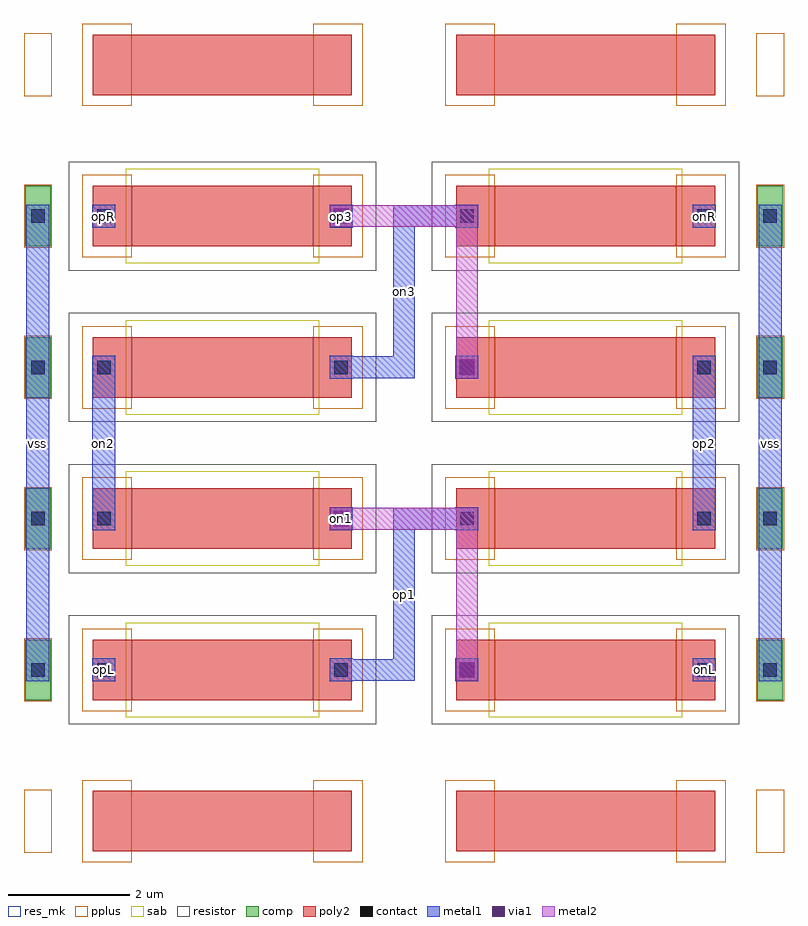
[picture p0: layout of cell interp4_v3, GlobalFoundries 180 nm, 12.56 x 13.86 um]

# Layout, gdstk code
import gdstk
lib = gdstk.Library(unit=1e-6, precision=1e-09)
def R(c, l, rs):  # rectangles x0, y0, x1, y1
    for r in rs: c.add(gdstk.rectangle(r[:2], r[2:], *l))
def A(c, l, x, y, w, h, nx, ny, dx, dy):  # array of equal rectangles
    R(c, l, [(x+i*dx, y+j*dy, x+i*dx+w, y+j*dy+h) for i in range(nx) for j in range(ny)])
comp = (22, 0)
poly2 = (30, 0)
pplus = (31, 0)
contact = (33, 0)
metal1 = (34, 0)
via1 = (35, 0)
metal2 = (36, 0)
sab = (49, 0)
resistor = (62, 0)
res_mk = (110, 5)

interp4_v3 = lib.new_cell('interp4_v3')
A(interp4_v3, comp, -1.76, 0, 0.42, 1, 1, 4, 0, 2.5)
A(interp4_v3, comp, 10.34, 0, 0.42, 1, 1, 4, 0, 2.5)
A(interp4_v3, poly2, -0.64, -2.5, 4.28, 1, 1, 6, 0, 2.5)
A(interp4_v3, poly2, 5.36, -2.5, 4.28, 1, 1, 6, 0, 2.5)
A(interp4_v3, pplus, -0.82, -2.68, 0.82, 1.36, 1, 6, 0, 2.5)
A(interp4_v3, pplus, 3, -2.68, 0.82, 1.36, 1, 6, 0, 2.5)
A(interp4_v3, pplus, 5.18, -2.68, 0.82, 1.36, 1, 6, 0, 2.5)
A(interp4_v3, pplus, 9, -2.68, 0.82, 1.36, 1, 6, 0, 2.5)
A(interp4_v3, pplus, -1.78, -2.52, 0.46, 1.04, 1, 6, 0, 2.5)
A(interp4_v3, pplus, 10.32, -2.52, 0.46, 1.04, 1, 6, 0, 2.5)
A(interp4_v3, contact, -1.66, 0.39, 0.22, 0.22, 1, 4, 0, 2.5)
A(interp4_v3, contact, -0.57, 0.39, 0.22, 0.22, 1, 4, 0, 2.5)
A(interp4_v3, contact, 3.35, 0.39, 0.22, 0.22, 1, 4, 0, 2.5)
A(interp4_v3, contact, 5.43, 0.39, 0.22, 0.22, 1, 4, 0, 2.5)
A(interp4_v3, contact, 9.35, 0.39, 0.22, 0.22, 1, 4, 0, 2.5)
A(interp4_v3, contact, 10.44, 0.39, 0.22, 0.22, 1, 4, 0, 2.5)
A(interp4_v3, metal1, -1.74, 0.31, 0.38, 0.38, 1, 4, 0, 2.5)
A(interp4_v3, metal1, -0.65, 0.31, 0.38, 0.38, 1, 4, 0, 2.5)
A(interp4_v3, metal1, 3.27, 0.31, 0.38, 0.38, 1, 4, 0, 2.5)
A(interp4_v3, metal1, 5.35, 0.31, 0.38, 0.38, 1, 4, 0, 2.5)
A(interp4_v3, metal1, 9.27, 0.31, 0.38, 0.38, 1, 4, 0, 2.5)
A(interp4_v3, metal1, 10.36, 0.31, 0.38, 0.38, 1, 4, 0, 2.5)
R(interp4_v3, metal1, [(-1.74,0.31,-1.36,8.19), (10.36,0.31,10.74,8.19), (3.28,0.32,4.68,0.68), (4.32,0.32,4.68,3.18), (5.36,0.32,5.72,0.68), (-0.65,2.81,-0.27,5.69), (9.27,2.81,9.65,5.69), (3.28,2.82,3.64,3.18), (4.32,2.82,5.72,3.18), (3.28,5.32,4.68,5.68), (4.32,5.32,4.68,8.18), (5.36,5.32,5.72,5.68), (3.28,7.82,3.64,8.18), (4.32,7.82,5.72,8.18)])
R(interp4_v3, via1, [(5.41,0.37,5.67,0.63), (3.33,2.87,3.59,3.13), (5.41,5.37,5.67,5.63), (3.33,7.87,3.59,8.13)])
R(interp4_v3, metal2, [(5.36,0.32,5.72,3.18), (3.28,2.82,5.72,3.18), (5.36,5.32,5.72,8.18), (3.28,7.82,5.72,8.18)])
A(interp4_v3, sab, -0.1, -0.28, 3.2, 1.56, 1, 4, 0, 2.5)
A(interp4_v3, sab, 5.9, -0.28, 3.2, 1.56, 1, 4, 0, 2.5)
A(interp4_v3, resistor, -1.04, -0.4, 5.08, 1.8, 1, 4, 0, 2.5)
A(interp4_v3, resistor, 4.96, -0.4, 5.08, 1.8, 1, 4, 0, 2.5)
A(interp4_v3, res_mk, 0, 0, 3, 1, 1, 4, 0, 2.5)
A(interp4_v3, res_mk, 6, 0, 3, 1, 1, 4, 0, 2.5)
interp4_v3.add(gdstk.Label('opL', (-0.46,0.5), layer=34, texttype=10))
interp4_v3.add(gdstk.Label('op1', (4.5,1.75), layer=34, texttype=10))
interp4_v3.add(gdstk.Label('op2', (9.46,4.25), layer=34, texttype=10))
interp4_v3.add(gdstk.Label('opR', (-0.46,8), layer=34, texttype=10))
interp4_v3.add(gdstk.Label('onL', (9.46,0.5), layer=34, texttype=10))
interp4_v3.add(gdstk.Label('on2', (-0.46,4.25), layer=34, texttype=10))
interp4_v3.add(gdstk.Label('on3', (4.5,6.75), layer=34, texttype=10))
interp4_v3.add(gdstk.Label('onR', (9.46,8), layer=34, texttype=10))
interp4_v3.add(gdstk.Label('vss', (-1.55,4.25), layer=34, texttype=10))
interp4_v3.add(gdstk.Label('vss', (10.55,4.25), layer=34, texttype=10))
interp4_v3.add(gdstk.Label('op3', (3.46,8), layer=36, texttype=10))
interp4_v3.add(gdstk.Label('on1', (3.46,3), layer=36, texttype=10))

lib.write_gds('interp4_v3.gds')
